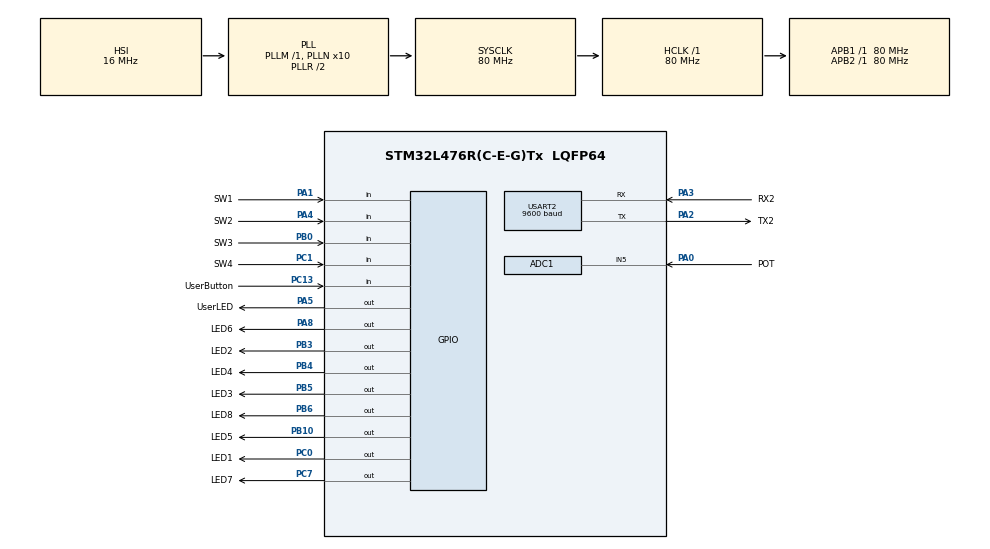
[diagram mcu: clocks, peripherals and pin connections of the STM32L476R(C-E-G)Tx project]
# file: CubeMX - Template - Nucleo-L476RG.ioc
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ADC1.Channel-0\#ChannelRegularConversion=ADC_CHANNEL_5
ADC1.NbrOfConversionFlag=1
ADC1.OffsetNumber-0\#ChannelRegularConversion=ADC_OFFSET_NONE
ADC1.Overrun=ADC_OVR_DATA_OVERWRITTEN
ADC1.Rank-0\#ChannelRegularConversion=1
ADC1.Resolution=ADC_RESOLUTION_12B
ADC1.SamplingTime-0\#ChannelRegularConversion=ADC_SAMPLETIME_2CYCLES_5
ADC1.master=1
Mcu.Family=STM32L4
Mcu.Name=STM32L476R(C-E-G)Tx
Mcu.Package=LQFP64
NVIC.PriorityGroup=NVIC_PRIORITYGROUP_4
PA0.GPIO_Label=POT
PA0.Signal=ADCx_IN5
PA1.GPIO_Label=SW1
PA1.Signal=GPIO_Input
PA13\ (JTMS-SWDIO).GPIO_Label=TMS
PA13\ (JTMS-SWDIO).Mode=Serial_Wire
PA13\ (JTMS-SWDIO).Signal=SYS_JTMS-SWDIO
PA14\ (JTCK-SWCLK).GPIO_Label=TCK
PA14\ (JTCK-SWCLK).Mode=Serial_Wire
PA14\ (JTCK-SWCLK).Signal=SYS_JTCK-SWCLK
PA2.GPIO_Label=TX2
PA2.GPIO_Mode=GPIO_MODE_AF_PP
PA2.GPIO_PuPd=GPIO_NOPULL
PA2.GPIO_Speed=GPIO_SPEED_FREQ_VERY_HIGH
PA2.Mode=Asynchronous
PA2.Signal=USART2_TX
PA3.GPIO_Label=RX2
PA3.GPIO_Mode=GPIO_MODE_AF_PP
PA3.GPIO_PuPd=GPIO_NOPULL
PA3.GPIO_Speed=GPIO_SPEED_FREQ_VERY_HIGH
PA3.Mode=Asynchronous
PA3.Signal=USART2_RX
PA4.GPIO_Label=SW2
PA4.Signal=GPIO_Input
PA5.GPIO_Label=UserLED
PA5.GPIO_ModeDefaultOutputPP=GPIO_MODE_OUTPUT_PP
PA5.GPIO_PuPd=GPIO_NOPULL
PA5.GPIO_Speed=GPIO_SPEED_FREQ_LOW
PA5.Signal=GPIO_Output
PA8.GPIO_Label=LED6
PA8.Signal=GPIO_Output
PB0.GPIO_Label=SW3
PB0.Signal=GPIO_Input
PB10.GPIO_Label=LED5
PB10.Signal=GPIO_Output
PB3\ (JTDO-TRACESWO).GPIO_Label=LED2
PB3\ (JTDO-TRACESWO).Signal=GPIO_Output
PB4\ (NJTRST).GPIO_Label=LED4
PB4\ (NJTRST).Signal=GPIO_Output
PB5.GPIO_Label=LED3
PB5.Signal=GPIO_Output
PB6.GPIO_Label=LED8
PB6.Signal=GPIO_Output
PC0.GPIO_Label=LED1
PC0.Signal=GPIO_Output
PC1.GPIO_Label=SW4
PC1.Signal=GPIO_Input
PC13.GPIO_Label=UserButton
PC13.Signal=GPIO_Input
PC7.GPIO_Label=LED7
PC7.Signal=GPIO_Output
ProjectManager.HeapSize=0x200
ProjectManager.StackSize=0x400
ProjectManager.TargetToolchain=MDK-ARM V5.32
RCC.ADCFreq_Value=64000000
RCC.AHBFreq_Value=80000000
RCC.APB1Freq_Value=80000000
RCC.APB1TimFreq_Value=80000000
RCC.APB2Freq_Value=80000000
RCC.APB2TimFreq_Value=80000000
RCC.CortexFreq_Value=80000000
RCC.HCLKFreq_Value=80000000
RCC.HSE_VALUE=8000000
RCC.HSI_VALUE=16000000
RCC.LSE_VALUE=32768
RCC.MSI_VALUE=4000000
RCC.PLLN=10
RCC.PLLSourceVirtual=RCC_PLLSOURCE_HSI
RCC.PREFETCH_ENABLE=1
RCC.SYSCLKFreq_VALUE=80000000
RCC.SYSCLKSource=RCC_SYSCLKSOURCE_PLLCLK
RCC.USBFreq_Value=64000000
RCC.VCOOutputFreq_Value=160000000
SH.ADCx_IN5.0=ADC1_IN5,IN5-Single-Ended
USART2.BaudRate=9600
USART2.OverrunDisableParam=ADVFEATURE_OVERRUN_DISABLE
USART2.VirtualMode-Asynchronous=VM_ASYNC
board=NUCLEO-L476RG

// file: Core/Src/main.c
/* USER CODE BEGIN Header */
/**
  ******************************************************************************
  * @file           : main.c
  * @brief          : Main program body
  ******************************************************************************
  * @attention
  *
  * Copyright (c) 2023 STMicroelectronics.
  * All rights reserved.
  *
  * This software is licensed under terms that can be found in the LICENSE file
  * in the root directory of this software component.
  * If no LICENSE file comes with this software, it is provided AS-IS.
  *
  ******************************************************************************
  */
	// Versie: 20252026
/* USER CODE END Header */
#include "main.h"

/* USER CODE BEGIN Includes */
#include "leds.h"
#include "buttons.h"
#include "usart2.h"
#include "ad.h"
#include "stdio.h"
#include "string.h"
/* USER CODE END Includes */

ADC_HandleTypeDef hadc1;

UART_HandleTypeDef huart2;

/* USER CODE BEGIN PV */
static uint8_t count = 0;
static char text[101];
/* USER CODE END PV */

void SystemClock_Config(void);
static void MX_GPIO_Init(void);
static void MX_ADC1_Init(void);
static void MX_USART2_UART_Init(void);

int main(void)
{

  /* MCU Configuration--------------------------------------------------------*/

  /* Reset of all peripherals, Initializes the Flash interface and the Systick. */
  HAL_Init();

  /* Configure the system clock */
  SystemClock_Config();

  /* Initialize all configured peripherals */
  MX_GPIO_Init();
  MX_ADC1_Init();
  MX_USART2_UART_Init();
  /* USER CODE BEGIN 2 */
	// Laten weten dat we opgestart zijn, via de USART2 (USB).
	strcpy(text, "Reboot\r\n");
	printf("%s", text);
  /* USER CODE END 2 */

  /* Infinite loop */
  /* USER CODE BEGIN WHILE */
  while (1)
  {
		// Knoppen en LED's testen.
		if(SW1Active() || SW2Active() || SW3Active() || SW4Active() || UserButtonActive())
			ByteToLeds(255);
		else
		{
			HAL_Delay(100);
			count++;
			ByteToLeds(count);
		}
    /* USER CODE END WHILE */

  }
}

void SystemClock_Config(void)
{
  RCC_OscInitTypeDef RCC_OscInitStruct = {0};
  RCC_ClkInitTypeDef RCC_ClkInitStruct = {0};

  /** Configure the main internal regulator output voltage
  */
  if (HAL_PWREx_ControlVoltageScaling(PWR_REGULATOR_VOLTAGE_SCALE1) != HAL_OK)
  {
    Error_Handler();
  }

  /** Initializes the RCC Oscillators according to the specified parameters
  * in the RCC_OscInitTypeDef structure.
  */
  RCC_OscInitStruct.OscillatorType = RCC_OSCILLATORTYPE_HSI;
  RCC_OscInitStruct.HSIState = RCC_HSI_ON;
  RCC_OscInitStruct.HSICalibrationValue = RCC_HSICALIBRATION_DEFAULT;
  RCC_OscInitStruct.PLL.PLLState = RCC_PLL_ON;
  RCC_OscInitStruct.PLL.PLLSource = RCC_PLLSOURCE_HSI;
  RCC_OscInitStruct.PLL.PLLM = 1;
  RCC_OscInitStruct.PLL.PLLN = 10;
  RCC_OscInitStruct.PLL.PLLP = RCC_PLLP_DIV7;
  RCC_OscInitStruct.PLL.PLLQ = RCC_PLLQ_DIV2;
  RCC_OscInitStruct.PLL.PLLR = RCC_PLLR_DIV2;
  if (HAL_RCC_OscConfig(&RCC_OscInitStruct) != HAL_OK)
  {
    Error_Handler();
  }

  /** Initializes the CPU, AHB and APB buses clocks
  */
  RCC_ClkInitStruct.ClockType = RCC_CLOCKTYPE_HCLK|RCC_CLOCKTYPE_SYSCLK
                              |RCC_CLOCKTYPE_PCLK1|RCC_CLOCKTYPE_PCLK2;
  RCC_ClkInitStruct.SYSCLKSource = RCC_SYSCLKSOURCE_PLLCLK;
  RCC_ClkInitStruct.AHBCLKDivider = RCC_SYSCLK_DIV1;
  RCC_ClkInitStruct.APB1CLKDivider = RCC_HCLK_DIV1;
  RCC_ClkInitStruct.APB2CLKDivider = RCC_HCLK_DIV1;

  if (HAL_RCC_ClockConfig(&RCC_ClkInitStruct, FLASH_LATENCY_4) != HAL_OK)
  {
    Error_Handler();
  }
}

static void MX_ADC1_Init(void)
{

  ADC_MultiModeTypeDef multimode = {0};
  ADC_ChannelConfTypeDef sConfig = {0};

  /** Common config
  */
  hadc1.Instance = ADC1;
  hadc1.Init.ClockPrescaler = ADC_CLOCK_ASYNC_DIV1;
  hadc1.Init.Resolution = ADC_RESOLUTION_12B;
  hadc1.Init.DataAlign = ADC_DATAALIGN_RIGHT;
  hadc1.Init.ScanConvMode = ADC_SCAN_DISABLE;
  hadc1.Init.EOCSelection = ADC_EOC_SINGLE_CONV;
  hadc1.Init.LowPowerAutoWait = DISABLE;
  hadc1.Init.ContinuousConvMode = DISABLE;
  hadc1.Init.NbrOfConversion = 1;
  hadc1.Init.DiscontinuousConvMode = DISABLE;
  hadc1.Init.ExternalTrigConv = ADC_SOFTWARE_START;
  hadc1.Init.ExternalTrigConvEdge = ADC_EXTERNALTRIGCONVEDGE_NONE;
  hadc1.Init.DMAContinuousRequests = DISABLE;
  hadc1.Init.Overrun = ADC_OVR_DATA_OVERWRITTEN;
  hadc1.Init.OversamplingMode = DISABLE;
  if (HAL_ADC_Init(&hadc1) != HAL_OK)
  {
    Error_Handler();
  }

  /** Configure the ADC multi-mode
  */
  multimode.Mode = ADC_MODE_INDEPENDENT;
  if (HAL_ADCEx_MultiModeConfigChannel(&hadc1, &multimode) != HAL_OK)
  {
    Error_Handler();
  }

  /** Configure Regular Channel
  */
  sConfig.Channel = ADC_CHANNEL_5;
  sConfig.Rank = ADC_REGULAR_RANK_1;
  sConfig.SamplingTime = ADC_SAMPLETIME_2CYCLES_5;
  sConfig.SingleDiff = ADC_SINGLE_ENDED;
  sConfig.OffsetNumber = ADC_OFFSET_NONE;
  sConfig.Offset = 0;
  if (HAL_ADC_ConfigChannel(&hadc1, &sConfig) != HAL_OK)
  {
    Error_Handler();
  }

}

static void MX_USART2_UART_Init(void)
{

  huart2.Instance = USART2;
  huart2.Init.BaudRate = 9600;
  huart2.Init.WordLength = UART_WORDLENGTH_8B;
  huart2.Init.StopBits = UART_STOPBITS_1;
  huart2.Init.Parity = UART_PARITY_NONE;
  huart2.Init.Mode = UART_MODE_TX_RX;
  huart2.Init.HwFlowCtl = UART_HWCONTROL_NONE;
  huart2.Init.OverSampling = UART_OVERSAMPLING_16;
  huart2.Init.OneBitSampling = UART_ONE_BIT_SAMPLE_DISABLE;
  huart2.AdvancedInit.AdvFeatureInit = UART_ADVFEATURE_RXOVERRUNDISABLE_INIT;
  huart2.AdvancedInit.OverrunDisable = UART_ADVFEATURE_OVERRUN_DISABLE;
  if (HAL_UART_Init(&huart2) != HAL_OK)
  {
    Error_Handler();
  }

}

static void MX_GPIO_Init(void)
{
  GPIO_InitTypeDef GPIO_InitStruct = {0};

  /* GPIO Ports Clock Enable */
  __HAL_RCC_GPIOC_CLK_ENABLE();
  __HAL_RCC_GPIOA_CLK_ENABLE();
  __HAL_RCC_GPIOB_CLK_ENABLE();

  /*Configure GPIO pin Output Level */
  HAL_GPIO_WritePin(GPIOC, LED1_Pin|LED7_Pin, GPIO_PIN_RESET);

  /*Configure GPIO pin Output Level */
  HAL_GPIO_WritePin(GPIOA, UserLED_Pin|LED6_Pin, GPIO_PIN_RESET);

  /*Configure GPIO pin Output Level */
  HAL_GPIO_WritePin(GPIOB, LED5_Pin|LED2_Pin|LED4_Pin|LED3_Pin
                          |LED8_Pin, GPIO_PIN_RESET);

  /*Configure GPIO pins : UserButton_Pin SW4_Pin */
  GPIO_InitStruct.Pin = UserButton_Pin|SW4_Pin;
  GPIO_InitStruct.Mode = GPIO_MODE_INPUT;
  GPIO_InitStruct.Pull = GPIO_NOPULL;
  HAL_GPIO_Init(GPIOC, &GPIO_InitStruct);

  /*Configure GPIO pins : LED1_Pin LED7_Pin */
  GPIO_InitStruct.Pin = LED1_Pin|LED7_Pin;
  GPIO_InitStruct.Mode = GPIO_MODE_OUTPUT_PP;
  GPIO_InitStruct.Pull = GPIO_NOPULL;
  GPIO_InitStruct.Speed = GPIO_SPEED_FREQ_LOW;
  HAL_GPIO_Init(GPIOC, &GPIO_InitStruct);

  /*Configure GPIO pins : SW1_Pin SW2_Pin */
  GPIO_InitStruct.Pin = SW1_Pin|SW2_Pin;
  GPIO_InitStruct.Mode = GPIO_MODE_INPUT;
  GPIO_InitStruct.Pull = GPIO_NOPULL;
  HAL_GPIO_Init(GPIOA, &GPIO_InitStruct);

  /*Configure GPIO pins : UserLED_Pin LED6_Pin */
  GPIO_InitStruct.Pin = UserLED_Pin|LED6_Pin;
  GPIO_InitStruct.Mode = GPIO_MODE_OUTPUT_PP;
  GPIO_InitStruct.Pull = GPIO_NOPULL;
  GPIO_InitStruct.Speed = GPIO_SPEED_FREQ_LOW;
  HAL_GPIO_Init(GPIOA, &GPIO_InitStruct);

  /*Configure GPIO pin : SW3_Pin */
  GPIO_InitStruct.Pin = SW3_Pin;
  GPIO_InitStruct.Mode = GPIO_MODE_INPUT;
  GPIO_InitStruct.Pull = GPIO_NOPULL;
  HAL_GPIO_Init(SW3_GPIO_Port, &GPIO_InitStruct);

  /*Configure GPIO pins : LED5_Pin LED2_Pin LED4_Pin LED3_Pin
                           LED8_Pin */
  GPIO_InitStruct.Pin = LED5_Pin|LED2_Pin|LED4_Pin|LED3_Pin
                          |LED8_Pin;
  GPIO_InitStruct.Mode = GPIO_MODE_OUTPUT_PP;
  GPIO_InitStruct.Pull = GPIO_NOPULL;
  GPIO_InitStruct.Speed = GPIO_SPEED_FREQ_LOW;
  HAL_GPIO_Init(GPIOB, &GPIO_InitStruct);

}

void Error_Handler(void)
{
  __disable_irq();
  while (1)
  {
  }
}
#ifdef USE_FULL_ASSERT
/**
  * @brief  Reports the name of the source file and the source line number
  *         where the assert_param error has occurred.
  * @param  file: pointer to the source file name
  * @param  line: assert_param error line source number
  * @retval None
  */
void assert_failed(uint8_t *file, uint32_t line)
{
  /* USER CODE BEGIN 6 */
  /* User can add his own implementation to report the file name and line number,
     ex: printf("Wrong parameters value: file %s on line %d\r\n", file, line) */
// Versie: 20252026
  /* USER CODE END 6 */
}
#endif /* USE_FULL_ASSERT */
